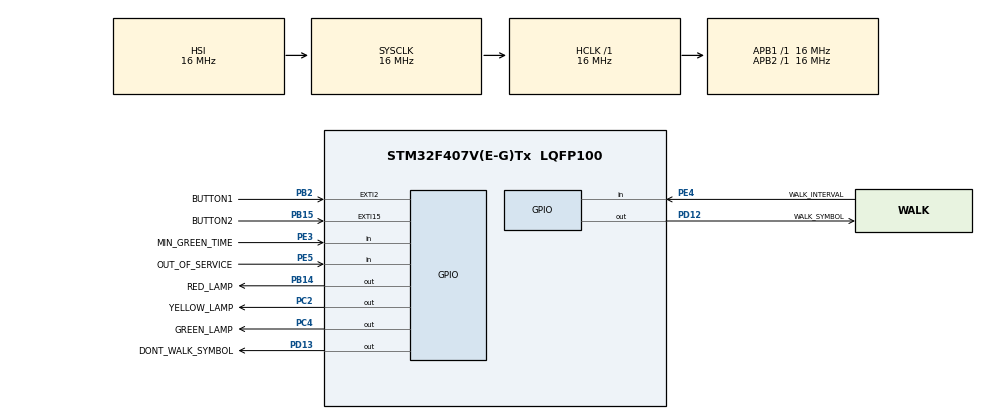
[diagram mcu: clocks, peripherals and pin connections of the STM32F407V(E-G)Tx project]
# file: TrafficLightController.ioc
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Mcu.Family=STM32F4
Mcu.Name=STM32F407V(E-G)Tx
Mcu.Package=LQFP100
NVIC.EXTI15_10_IRQn=true\:0\:0\:false\:false\:true\:true\:true
NVIC.EXTI2_IRQn=true\:0\:0\:false\:false\:true\:true\:true
NVIC.PriorityGroup=NVIC_PRIORITYGROUP_4
PA13.Mode=Serial_Wire
PA13.Signal=SYS_JTMS-SWDIO
PA14.Mode=Serial_Wire
PA14.Signal=SYS_JTCK-SWCLK
PB14.GPIO_Label=RED_LAMP
PB14.Signal=GPIO_Output
PB15.GPIO_Label=BUTTON2
PB15.GPIO_ModeDefaultEXTI=GPIO_MODE_IT_FALLING
PB15.Signal=GPXTI15
PB2.GPIO_Label=BUTTON1
PB2.GPIO_ModeDefaultEXTI=GPIO_MODE_IT_FALLING
PB2.Signal=GPXTI2
PC2.GPIO_Label=YELLOW_LAMP
PC2.Signal=GPIO_Output
PC4.GPIO_Label=GREEN_LAMP
PC4.Signal=GPIO_Output
PD12.GPIO_Label=WALK_SYMBOL
PD12.Signal=GPIO_Output
PD13.GPIO_Label=DONT_WALK_SYMBOL
PD13.Signal=GPIO_Output
PE3.GPIO_Label=MIN_GREEN_TIME
PE3.Signal=GPIO_Input
PE4.GPIO_Label=WALK_INTERVAL
PE4.Signal=GPIO_Input
PE5.GPIO_Label=OUT_OF_SERVICE
PE5.Signal=GPIO_Input
ProjectManager.HeapSize=0x200
ProjectManager.StackSize=0x400
ProjectManager.TargetToolchain=MDK-ARM V5
RCC.AHBFreq_Value=16000000
RCC.APB1Freq_Value=16000000
RCC.APB2Freq_Value=16000000
RCC.CortexFreq_Value=16000000
RCC.HSE_VALUE=25000000
RCC.HSI_VALUE=16000000
RCC.LSE_VALUE=32768
RCC.SYSCLKFreq_VALUE=16000000
RCC.VCOOutputFreq_Value=192000000
board=custom

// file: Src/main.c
/* USER CODE BEGIN Header */
/**
  ******************************************************************************
  * @file           : main.c
  * @brief          : Main program body
  ******************************************************************************
  * @attention
  *
  * <h2><center>&copy; Copyright (c) 2019 STMicroelectronics.
  * All rights reserved.</center></h2>
  *
  * This software component is licensed by ST under BSD 3-Clause license,
  * the "License"; You may not use this file except in compliance with the
  * License. You may obtain a copy of the License at:
  *                        opensource.org/licenses/BSD-3-Clause
  *
  ******************************************************************************
  */
/* USER CODE END Header */

#include "main.h"

/* USER CODE BEGIN Includes */
#include <stdio.h>
#include "bsp.h"
#include "timer.h"
#include "ctrler.h"
/* USER CODE END Includes */

void SystemClock_Config(void);
static void MX_GPIO_Init(void);

/* USER CODE BEGIN 0 */
int fputc(int ch, FILE *f)
{
    return ITM_SendChar(ch);
}

Event_t Event_Detect()
{
    Event_t evt = NO_EVT;
		if (Timeout_Status) {
			evt = TIMEOUT;
			Timeout_Status = 0;
		}
		if (Button_Status) {
			evt = BUTTON;
			Button_Status = 0;
		}
		if (OUT_OF_SERVICE_READ() == SET) {
			evt = MODE_CHANGE;
		}
    return evt;
}
/* USER CODE END 0 */

int main(void)
{

  /* MCU Configuration--------------------------------------------------------*/

  /* Reset of all peripherals, Initializes the Flash interface and the Systick. */
  HAL_Init();

  /* Configure the system clock */
  SystemClock_Config();

  /* Initialize all configured peripherals */
  MX_GPIO_Init();

  /* Infinite loop */
  while (1)
  {

    /* USER CODE BEGIN 3 */
    Event_t evt = Event_Detect();
    uint32_t timeout_value = Ctrler_Exec(evt);
    Timeout_Config(timeout_value);
    Delay(1);
  }
  /* USER CODE END 3 */
}

void SystemClock_Config(void)
{
  RCC_OscInitTypeDef RCC_OscInitStruct = {0};
  RCC_ClkInitTypeDef RCC_ClkInitStruct = {0};

  /** Configure the main internal regulator output voltage
  */
  __HAL_RCC_PWR_CLK_ENABLE();
  __HAL_PWR_VOLTAGESCALING_CONFIG(PWR_REGULATOR_VOLTAGE_SCALE1);
  /** Initializes the CPU, AHB and APB busses clocks
  */
  RCC_OscInitStruct.OscillatorType = RCC_OSCILLATORTYPE_HSI;
  RCC_OscInitStruct.HSIState = RCC_HSI_ON;
  RCC_OscInitStruct.HSICalibrationValue = RCC_HSICALIBRATION_DEFAULT;
  RCC_OscInitStruct.PLL.PLLState = RCC_PLL_NONE;
  if (HAL_RCC_OscConfig(&RCC_OscInitStruct) != HAL_OK)
  {
    Error_Handler();
  }
  /** Initializes the CPU, AHB and APB busses clocks
  */
  RCC_ClkInitStruct.ClockType = RCC_CLOCKTYPE_HCLK|RCC_CLOCKTYPE_SYSCLK
                              |RCC_CLOCKTYPE_PCLK1|RCC_CLOCKTYPE_PCLK2;
  RCC_ClkInitStruct.SYSCLKSource = RCC_SYSCLKSOURCE_HSI;
  RCC_ClkInitStruct.AHBCLKDivider = RCC_SYSCLK_DIV1;
  RCC_ClkInitStruct.APB1CLKDivider = RCC_HCLK_DIV1;
  RCC_ClkInitStruct.APB2CLKDivider = RCC_HCLK_DIV1;

  if (HAL_RCC_ClockConfig(&RCC_ClkInitStruct, FLASH_LATENCY_0) != HAL_OK)
  {
    Error_Handler();
  }
}

static void MX_GPIO_Init(void)
{
  GPIO_InitTypeDef GPIO_InitStruct = {0};

  /* GPIO Ports Clock Enable */
  __HAL_RCC_GPIOE_CLK_ENABLE();
  __HAL_RCC_GPIOC_CLK_ENABLE();
  __HAL_RCC_GPIOB_CLK_ENABLE();
  __HAL_RCC_GPIOD_CLK_ENABLE();
  __HAL_RCC_GPIOA_CLK_ENABLE();

  /*Configure GPIO pin Output Level */
  HAL_GPIO_WritePin(GPIOC, YELLOW_LAMP_Pin|GREEN_LAMP_Pin, GPIO_PIN_RESET);

  /*Configure GPIO pin Output Level */
  HAL_GPIO_WritePin(RED_LAMP_GPIO_Port, RED_LAMP_Pin, GPIO_PIN_RESET);

  /*Configure GPIO pin Output Level */
  HAL_GPIO_WritePin(GPIOD, WALK_SYMBOL_Pin|DONT_WALK_SYMBOL_Pin, GPIO_PIN_RESET);

  /*Configure GPIO pins : MIN_GREEN_TIME_Pin WALK_INTERVAL_Pin OUT_OF_SERVICE_Pin */
  GPIO_InitStruct.Pin = MIN_GREEN_TIME_Pin|WALK_INTERVAL_Pin|OUT_OF_SERVICE_Pin;
  GPIO_InitStruct.Mode = GPIO_MODE_INPUT;
  GPIO_InitStruct.Pull = GPIO_NOPULL;
  HAL_GPIO_Init(GPIOE, &GPIO_InitStruct);

  /*Configure GPIO pins : YELLOW_LAMP_Pin GREEN_LAMP_Pin */
  GPIO_InitStruct.Pin = YELLOW_LAMP_Pin|GREEN_LAMP_Pin;
  GPIO_InitStruct.Mode = GPIO_MODE_OUTPUT_PP;
  GPIO_InitStruct.Pull = GPIO_NOPULL;
  GPIO_InitStruct.Speed = GPIO_SPEED_FREQ_LOW;
  HAL_GPIO_Init(GPIOC, &GPIO_InitStruct);

  /*Configure GPIO pins : BUTTON1_Pin BUTTON2_Pin */
  GPIO_InitStruct.Pin = BUTTON1_Pin|BUTTON2_Pin;
  GPIO_InitStruct.Mode = GPIO_MODE_IT_FALLING;
  GPIO_InitStruct.Pull = GPIO_NOPULL;
  HAL_GPIO_Init(GPIOB, &GPIO_InitStruct);

  /*Configure GPIO pin : RED_LAMP_Pin */
  GPIO_InitStruct.Pin = RED_LAMP_Pin;
  GPIO_InitStruct.Mode = GPIO_MODE_OUTPUT_PP;
  GPIO_InitStruct.Pull = GPIO_NOPULL;
  GPIO_InitStruct.Speed = GPIO_SPEED_FREQ_LOW;
  HAL_GPIO_Init(RED_LAMP_GPIO_Port, &GPIO_InitStruct);

  /*Configure GPIO pins : WALK_SYMBOL_Pin DONT_WALK_SYMBOL_Pin */
  GPIO_InitStruct.Pin = WALK_SYMBOL_Pin|DONT_WALK_SYMBOL_Pin;
  GPIO_InitStruct.Mode = GPIO_MODE_OUTPUT_PP;
  GPIO_InitStruct.Pull = GPIO_NOPULL;
  GPIO_InitStruct.Speed = GPIO_SPEED_FREQ_LOW;
  HAL_GPIO_Init(GPIOD, &GPIO_InitStruct);

  /* EXTI interrupt init*/
  HAL_NVIC_SetPriority(EXTI2_IRQn, 0, 0);
  HAL_NVIC_EnableIRQ(EXTI2_IRQn);

  HAL_NVIC_SetPriority(EXTI15_10_IRQn, 0, 0);
  HAL_NVIC_EnableIRQ(EXTI15_10_IRQn);

}

void Error_Handler(void)
{
}

/************************ (C) COPYRIGHT STMicroelectronics *****END OF FILE****/
